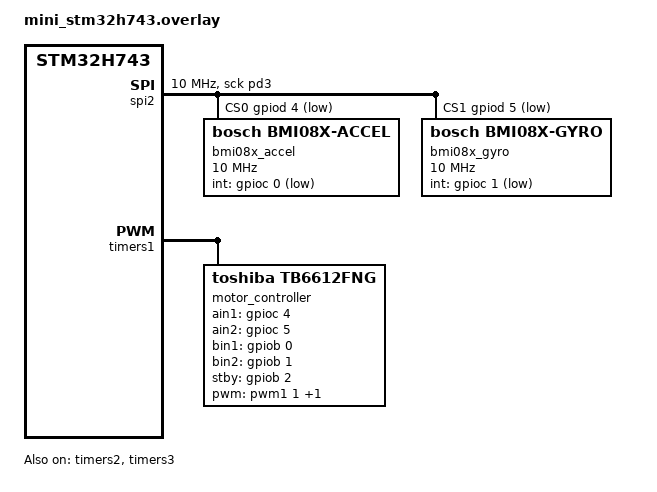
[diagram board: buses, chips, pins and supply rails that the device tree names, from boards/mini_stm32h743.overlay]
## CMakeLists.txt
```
cmake_minimum_required(VERSION 3.20.0)

list(APPEND ZEPHYR_EXTRA_MODULES ${CMAKE_CURRENT_SOURCE_DIR}/modules/libmicroxrcedds)

list(APPEND DTS_ROOT ${CMAKE_CURRENT_SOURCE_DIR}/drivers/zephyr)

list(APPEND ZEPHYR_EXTRA_MODULES
  ${CMAKE_CURRENT_SOURCE_DIR}/drivers
)

find_package(Zephyr REQUIRED HINTS $ENV{ZEPHYR_BASE})
project(MiracZ7)

zephyr_include_directories(${CMAKE_CURRENT_SOURCE_DIR}/include)

if(CONFIG_MICROXRCEDDSCLIENT)
  target_link_libraries(app PRIVATE microxrceddsclient)
endif()

target_sources(app PRIVATE src/main.c src/HelloWorld.c)
```

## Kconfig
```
mainmenu "Miracz7 Application"

source "Kconfig.zephyr"
```

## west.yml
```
manifest:
  remotes:
    - name: zephyrproject-rtos
      url-base: https://github.com/zephyrproject-rtos
    
    - name: eprosima
      url-base: https://github.com/eProsima

    - name: xrce-dds-custom
      url-base: https://github.com/discodyer

  projects:
    - name: zephyr
      remote: zephyrproject-rtos
      revision: v4.2.0
      import: true

    - name: Micro-XRCE-DDS-Client
      remote: xrce-dds-custom
      revision: zephyr-v3.0.0
      path: modules/lib/micro-xrce-dds-client
    
    - name: Micro-CDR
      remote: xrce-dds-custom
      revision: zephyr-v2.0.1
      path: modules/lib/micro-cdr

  self:
    path: miracz7
```

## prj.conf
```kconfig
# General configurations
# CONFIG_PRINTK=y
CONFIG_STDOUT_CONSOLE=y
CONFIG_CBPRINTF_FP_SUPPORT=y

CONFIG_LOG=y
CONFIG_LOG_DEFAULT_LEVEL=3
CONFIG_LOG_MODE_DEFERRED=y
CONFIG_LOG_BACKEND_UART=y

CONFIG_GPIO=y

# System Configuration
# CONFIG_MAIN_STACK_SIZE=2048
# CONFIG_HEAP_MEM_POOL_SIZE=16384
CONFIG_MAIN_STACK_SIZE=25000
CONFIG_MAIN_THREAD_PRIORITY=3

CONFIG_NEWLIB_LIBC=y
CONFIG_NEWLIB_LIBC_NANO=n
# CONFIG_PTHREAD_IPC=n

CONFIG_POSIX_API=y
# CONFIG_NATIVE_POSIX_TIMER=y
# CONFIG_APP_LINK_WITH_POSIX_SUBSYS=y
# CONFIG_POSIX_CLOCK=y
# CONFIG_NATIVE_SIM_TIMER=y

CONFIG_STDOUT_CONSOLE=y
# CONFIG_USB=y
CONFIG_USB_DEVICE_STACK=y
CONFIG_USB_DEVICE_PRODUCT="Zephyr XRCE Client"
CONFIG_LOG=y
CONFIG_LOG_MODE_IMMEDIATE=y
CONFIG_USB_CDC_ACM=y
CONFIG_SERIAL=y
CONFIG_UART_INTERRUPT_DRIVEN=y
# CONFIG_USB_DEVICE_INITIALIZE=y
CONFIG_UART_LINE_CTRL=y
CONFIG_USB_DRIVER_LOG_LEVEL_ERR=y
CONFIG_USB_DEVICE_LOG_LEVEL_ERR=y
CONFIG_USB_CDC_ACM_RINGBUF_SIZE=2048
CONFIG_USB_COMPOSITE_DEVICE=y
CONFIG_UART_CONSOLE=y
# CONFIG_CONSOLE_FLUSHING=y

# Debug Configuration
# CONFIG_ASSERT=y
# CONFIG_DEBUG_OPTIMIZATIONS=y

# SPI configurations
CONFIG_SPI=y

# BMI088 configurations
CONFIG_SENSOR=y
CONFIG_BMI08X=y

# Enbale ST7735 Display Driver
# CONFIG_ST7735R=y

# Display configurations
# CONFIG_DISPLAY=y
# CONFIG_LVGL=y
# CONFIG_LV_Z_MEM_POOL_SIZE=16384
# CONFIG_LV_USE_LABEL=y
# CONFIG_LV_COLOR_DEPTH_16=y
# CONFIG_LV_COLOR_16_SWAP=y

CONFIG_MICROXRCEDDSCLIENT=y
CONFIG_MICROXRCEDDSCLIENT_TRANSPORT_SERIAL_USB=y
# Encoder support
CONFIG_QDEC_STM32=n
CONFIG_ENCODER_STM32=y

# TB6612 configurations
CONFIG_MOTOR_DRIVER=y
CONFIG_MOTOR_DRIVER_TB6612=y
```

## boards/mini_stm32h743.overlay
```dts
#include <zephyr/dt-bindings/sensor/qdec_stm32.h>
#include <zephyr/dt-bindings/pinctrl/stm32-pinctrl.h>
#include <zephyr/dt-bindings/pwm/pwm.h>
#include <zephyr/dt-bindings/gpio/gpio.h>

/ {
    aliases {
		spi1 = &spi1;
		spi2 = &spi2;
		encoder1 = &encoder1;
        encoder2 = &encoder2;
    };
};

&spi2 {
	status = "okay";
	pinctrl-0 = <&spi2_sck_pd3
				 &spi2_miso_pc2_c
				 &spi2_mosi_pc3_c>;
	pinctrl-names = "default";
	cs-gpios = <&gpiod 4 GPIO_ACTIVE_LOW>,
               <&gpiod 5 GPIO_ACTIVE_LOW>;
	clock-frequency = <10000000>;
	#address-cells = <1>;
	#size-cells = <0>;
	
	bmi08x_accel: bmi08x@0 {
		compatible = "bosch,bmi08x-accel";
		reg = <0>;
		int-gpios = <&gpioc 0 GPIO_ACTIVE_LOW>;
		spi-max-frequency = <10000000>;
		int1-map-io = <0x01>;
		int2-map-io = <0x00>;
		int1-conf-io = <0x00>;
		int2-conf-io = <0x00>;
		accel-hz = "800";
		accel-fs = <24>;
	};

	bmi08x_gyro: bmi08x@1 {
		compatible = "bosch,bmi08x-gyro";
		reg = <1>;
		int-gpios = <&gpioc 1 GPIO_ACTIVE_LOW>;
		spi-max-frequency = <10000000>;
		int3-4-map-io = <0x01>;
		int3-4-conf-io = <0x00>;
		gyro-hz = "1000_116";
		gyro-fs = <1000>;
	};
};

&zephyr_udc0 {
	cdc_xrce_dds: cdc_xrce_dds {
		compatible = "zephyr,cdc-acm-uart";
		label = "CDC_XRCE_DDS";
	};
};

&timers1 {
    status = "okay";

    pwm1: pwm {
		status = "okay";
		pinctrl-0 = <&tim1_ch1_pe9 &tim1_ch2_pe11>;
		pinctrl-names = "default";
	};

	motor_controller: motor-controller {
        compatible = "toshiba,tb6612fng";
        status = "okay";

        /* PWM配置 */
		pwms = <&pwm1 1 PWM_USEC(20) PWM_POLARITY_NORMAL>, // TIM1_CH1 (PE9)
			   <&pwm1 2 PWM_USEC(20) PWM_POLARITY_NORMAL>; // TIM1_CH2 (PE11)

        /* GPIO配置 */
        ain1-gpios = <&gpioc 4 GPIO_ACTIVE_HIGH>;  // 通道A方向1
        ain2-gpios = <&gpioc 5 GPIO_ACTIVE_HIGH>;  // 通道A方向2
        bin1-gpios = <&gpiob 0 GPIO_ACTIVE_HIGH>;  // 通道B方向1
        bin2-gpios = <&gpiob 1 GPIO_ACTIVE_HIGH>;  // 通道B方向2
        stby-gpios = <&gpiob 2 GPIO_ACTIVE_HIGH>;  // 待机控制

		#pwm-cells = <3>;
    };
};

&timers2 {
    status = "okay";
    encoder1: encoder {
		status = "okay";
		compatible = "st,stm32-encoder";
        pinctrl-0 = <&tim2_ch1_pa15 &tim2_ch2_pb3>;
        pinctrl-names = "default";
        st,encoder-mode = <3>;
        st,input-polarity-inverted;
        st,input-filter-level = <NO_FILTER>;
        st,counts-per-revolution = <15000>;
    };
};

&timers3 {
    status = "okay";
    encoder2: encoder {
		status = "okay";
		compatible = "st,stm32-encoder";
        pinctrl-0 = <&tim3_ch1_pc6 &tim3_ch2_pc7>;
        pinctrl-names = "default";
        st,encoder-mode = <3>;
        st,input-polarity-inverted;
        st,input-filter-level = <NO_FILTER>;
        st,counts-per-revolution = <15000>;
    };
};
```

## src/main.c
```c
#include <zephyr/kernel.h>

#include <uxr/client/client.h>
#include <ucdr/microcdr.h>

#include <stdio.h>
#include <string.h>
#include <stdlib.h>
#include <time.h>

#include <zephyr/device.h>
#include <zephyr/drivers/sensor.h>
#include <zephyr/sys/printk.h>
#include <zephyr/drivers/sensor/encoder_stm32.h>
#include <zephyr/drivers/motor.h>

#include "HelloWorld.h"
#include "microxrce_transports.h"

#define STREAM_HISTORY  8
#define BUFFER_SIZE     UXR_CONFIG_CUSTOM_TRANSPORT_MTU * STREAM_HISTORY

#define MOTOR_DEVICE DT_NODELABEL(motor_controller)

/* 定义电机控制线程栈 */
#define MOTOR_THREAD_STACK_SIZE 1024
K_THREAD_STACK_DEFINE(motor_thread_stack, MOTOR_THREAD_STACK_SIZE);
static struct k_thread motor_thread_data;

/* 电机控制标志位 */
static volatile bool run_motor = true;

/* 电机控制线程函数 */
void motor_thread(void *, void *, void *)
{
    const struct device *motor = DEVICE_DT_GET(DT_NODELABEL(motor_controller));
    
    if (!device_is_ready(motor)) {
        printk("Motor device not ready\n");
        return;
    }

    while (run_motor) {
        // 通道A正向50%速度
        set_motor(motor, MOTOR_CHANNEL_A, MOTOR_FORWARD, 20);
        // 通道B正向50%速度
        set_motor(motor, MOTOR_CHANNEL_B, MOTOR_FORWARD, 20);
        k_sleep(K_SECONDS(2));
        
        // 停止两个电机
        set_motor(motor, MOTOR_CHANNEL_A, MOTOR_STOP, 0);
        set_motor(motor, MOTOR_CHANNEL_B, MOTOR_STOP, 0);
        
        k_sleep(K_SECONDS(2));

        // 通道A反向50%速度
        set_motor(motor, MOTOR_CHANNEL_A, MOTOR_REVERSE, 20);
        // 通道B反向50%速度
        set_motor(motor, MOTOR_CHANNEL_B, MOTOR_REVERSE, 20);
        k_sleep(K_SECONDS(2));
        
        // 停止两个电机
        set_motor(motor, MOTOR_CHANNEL_A, MOTOR_STOP, 0);
        set_motor(motor, MOTOR_CHANNEL_B, MOTOR_STOP, 0);
        
        k_sleep(K_SECONDS(2));
    }
}

int main(void)
{
    /* 启动电机控制线程 */
    k_thread_create(&motor_thread_data,
                   motor_thread_stack,
                   K_THREAD_STACK_SIZEOF(motor_thread_stack),
                   motor_thread,
                   NULL, NULL, NULL,
                   CONFIG_MAIN_THREAD_PRIORITY + 1,  // 比主线程高1级
                   0, K_NO_WAIT);

    const struct device *const encoder1 = DEVICE_DT_GET(DT_ALIAS(encoder1));
    const struct device *const encoder2 = DEVICE_DT_GET(DT_ALIAS(encoder2));

    /* 检查设备是否就绪 */
    if (!device_is_ready(encoder1) || !device_is_ready(encoder2)) {
        printk("Encoders not ready\n");
        return 0;
    }

    uxrCustomTransport transport;
    uxr_set_custom_transport_callbacks(&transport,
                                        true,
                                        zephyr_transport_open,
                                        zephyr_transport_close,
                                        zephyr_transport_write,
                                        zephyr_transport_read);
    // Transport
    if(!uxr_init_custom_transport(&transport, &default_params))
    {
        printf("Error at create transport.\n");
        while(1){};
    }

    // Session
    uxrSession session;
    uxr_init_session(&session, &transport.comm, 0xAAAABBBB);
    if(!uxr_create_session(&session))
    {
        printf("Error at create session.\n");
        while(1){};
    }

    // Streams
    uint8_t output_reliable_stream_buffer[BUFFER_SIZE];
    uxrStreamId reliable_out = uxr_create_output_reliable_stream(&session, output_reliable_stream_buffer, BUFFER_SIZE, STREAM_HISTORY);

    uint8_t input_reliable_stream_buffer[BUFFER_SIZE];
    uxr_create_input_reliable_stream(&session, input_reliable_stream_buffer, BUFFER_SIZE, STREAM_HISTORY);

    // Create entities
    uxrObjectId participant_id = uxr_object_id(0x01, UXR_PARTICIPANT_ID);
    const char* participant_xml = "<dds>"
                                      "<participant>"
                                          "<rtps>"
                                              "<name>default_xrce_participant</name>"
                                          "</rtps>"
                                      "</participant>"
                                  "</dds>";
    uint16_t participant_req = uxr_buffer_create_participant_xml(&session, reliable_out, participant_id, 0, participant_xml, UXR_REPLACE);

    uxrObjectId topic_id = uxr_object_id(0x01, UXR_TOPIC_ID);
    const char* topic_xml = "<dds>"
                                "<topic>"
                                    "<name>HelloWorldTopic</name>"
                                    "<dataType>HelloWorld</dataType>"
                                "</topic>"
                            "</dds>";
    uint16_t topic_req = uxr_buffer_create_topic_xml(&session, reliable_out, topic_id, participant_id, topic_xml, UXR_REPLACE);

    uxrObjectId publisher_id = uxr_object_id(0x01, UXR_PUBLISHER_ID);
    const char* publisher_xml = "";
    uint16_t publisher_req = uxr_buffer_create_publisher_xml(&session, reliable_out, publisher_id, participant_id, publisher_xml, UXR_REPLACE);

    uxrObjectId datawriter_id = uxr_object_id(0x01, UXR_DATAWRITER_ID);
    const char* datawriter_xml = "<dds>"
                                     "<data_writer>"
                                         "<topic>"
                                             "<kind>NO_KEY</kind>"
                                             "<name>HelloWorldTopic</name>"
                                             "<dataType>HelloWorld</dataType>"
                                         "</topic>"
                                     "</data_writer>"
                                 "</dds>";
    uint16_t datawriter_req = uxr_buffer_create_datawriter_xml(&session, reliable_out, datawriter_id, publisher_id, datawriter_xml, UXR_REPLACE);

    // Send create entities message and wait its status
    uint8_t status[4];
    uint16_t requests[4] = {participant_req, topic_req, publisher_req, datawriter_req};
    if(!uxr_run_session_until_all_status(&session, 1000, requests, status, 4))
    {
        printf("Error at create entities: participant: %i topic: %i publisher: %i darawriter: %i\n", status[0], status[1], status[2], status[3]);
        while(1){};
    }

    // Write topics
    bool connected = true;
    uint32_t count = 0;
    while(connected)
    {
        HelloWorld topic = {++count, "Hello DDS world!"};

        ucdrBuffer ub;
        uint32_t topic_size = HelloWorld_size_of_topic(&topic, 0);
        uxr_prepare_output_stream(&session, reliable_out, datawriter_id, &ub, topic_size);
        HelloWorld_serialize_topic(&ub, &topic);

        printf("Send topic: %s, id: %i\n", topic.message, topic.index);
        connected = uxr_run_session_time(&session, 1000);
    }

    // while (1) {
    //     struct sensor_value val1_rotation, val2_rotation;
    //     struct sensor_value val1_revolution, val2_revolution;
        
    //     /* 读取编码器数据 */
    //     if (sensor_sample_fetch(encoder1) != 0 || 
    //         sensor_sample_fetch(encoder2) != 0) {
    //         printk("Failed to fetch encoder samples\n");
    //         continue;
    //     }

    //     sensor_channel_get(encoder1, SENSOR_CHAN_ROTATION, &val1_rotation);
    //     sensor_channel_get(encoder1, SENSOR_CHAN_REVOLUTIONS, &val1_revolution);
    //     sensor_channel_get(encoder2, SENSOR_CHAN_ROTATION, &val2_rotation);
    //     sensor_channel_get(encoder2, SENSOR_CHAN_REVOLUTIONS, &val2_revolution);

    //     /* 计算并打印角度 */
    //     double angle1 = (val1_rotation.val1 + val1_rotation.val2 / 1000000.0) 
    //                   + val1_revolution.val1 * 360;
    //     double angle2 = (val2_rotation.val1 + val2_rotation.val2 / 1000000.0) 
    //                   + val2_revolution.val1 * 360;
        
    //     printf("%.2f, %.2f\n", angle1, angle2);
        
    //     // /* 根据编码器数据调整电机（示例逻辑） */
    //     // if (angle1 > 360.0) {
    //     //     run_motor = false; // 停止电机
    //     // }
        
    //     k_sleep(K_MSEC(100));
    // }

    // Delete resources
    uxr_delete_session(&session);
    uxr_close_custom_transport(&transport);

    while(1){};
}
```

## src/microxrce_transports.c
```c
#include <uxr/client/transport.h>

#include <zephyr/kernel.h>

#include <unistd.h>
#include <stdio.h>
#include <string.h>
#include <stdbool.h>

#include "microxrce_transports.h"

#include <zephyr/device.h>
#include <zephyr/sys/printk.h>
#include <zephyr/drivers/uart.h>
#include <zephyr/sys/ring_buffer.h>
#include <zephyr/usb/usb_device.h>

#define RING_BUF_SIZE 2048

char uart_in_buffer[RING_BUF_SIZE];
char uart_out_buffer[RING_BUF_SIZE];

struct ring_buf out_ringbuf, in_ringbuf;

static void uart_fifo_callback(struct device *dev){ 
    while (uart_irq_update(dev) && uart_irq_is_pending(dev)) {
        if (uart_irq_rx_ready(dev)) {
            int recv_len;
            char buffer[64];
            size_t len = MIN(ring_buf_space_get(&in_ringbuf), sizeof(buffer));

            if (len > 0){
                recv_len = uart_fifo_read(dev, buffer, len);
                ring_buf_put(&in_ringbuf, buffer, recv_len);
            }

        }

        if (uart_irq_tx_ready(dev)) {			
            char buffer[64];
            int rb_len;

            rb_len = ring_buf_get(&out_ringbuf, buffer, sizeof(buffer));

            if (rb_len == 0) {
                uart_irq_tx_disable(dev);
                continue;
            }

            uart_fifo_fill(dev, buffer, rb_len);
        }
    }
}

bool zephyr_transport_open(struct uxrCustomTransport * transport){
    zephyr_transport_params_t * params = (zephyr_transport_params_t*) transport->args;
    
    int ret;
    uint32_t baudrate, dtr = 0U;

    params->uart_dev = device_get_binding("CDC_XRCE_DDS");
    if (!params->uart_dev) {
        printk("CDC ACM device not found\n");
        return false;
    }

    // ret = usb_enable(NULL);
    // if (ret != 0) {
    //     printk("Failed to enable USB\n");
    //     return false;
    // }

    ring_buf_init(&out_ringbuf, sizeof(uart_out_buffer), uart_out_buffer);
    ring_buf_init(&in_ringbuf, sizeof(uart_in_buffer), uart_in_buffer);

    printk("Waiting for agent connection\n");

    while (true) {
        uart_line_ctrl_get(params->uart_dev, UART_LINE_CTRL_DTR, &dtr);
        if (dtr) {
            break;
        } else {
            /* Give CPU resources to low priority threads. */
            k_sleep(K_MSEC(100));
        }
    }

    printk("Serial port connected!\n");

    /* They are optional, we use them to test the interrupt endpoint */
    ret = uart_line_ctrl_set(params->uart_dev, UART_LINE_CTRL_DCD, 1);
    if (ret) {
        printk("Failed to set DCD, ret code %d\n", ret);
    }

    ret = uart_line_ctrl_set(params->uart_dev, UART_LINE_CTRL_DSR, 1);
    if (ret) {
        printk("Failed to set DSR, ret code %d\n", ret);
    }

    /* Wait 1 sec for the host to do all settings */
    k_busy_wait(1000*1000);

    ret = uart_line_ctrl_get(params->uart_dev, UART_LINE_CTRL_BAUD_RATE, &baudrate);
    if (ret) {
        printk("Failed to get baudrate, ret code %d\n", ret);
    }

    uart_irq_callback_set(params->uart_dev, uart_fifo_callback);

    /* Enable rx interrupts */
    uart_irq_rx_enable(params->uart_dev);

    return true;
}

bool zephyr_transport_close(struct uxrCustomTransport * transport){
    zephyr_transport_params_t * params = (zephyr_transport_params_t*) transport->args;

    return true;
}

size_t zephyr_transport_write(struct uxrCustomTransport* transport, const uint8_t * buf, size_t len, uint8_t * err){
    zephyr_transport_params_t * params = (zephyr_transport_params_t*) transport->args;

    size_t wrote;
    
    wrote = ring_buf_put(&out_ringbuf, buf, len);
    
    uart_irq_tx_enable(params->uart_dev);

    while (!ring_buf_is_empty(&out_ringbuf)){
        k_sleep(K_MSEC(5));
    }
    
    return wrote;
}

size_t zephyr_transport_read(struct uxrCustomTransport* transport, uint8_t* buf, size_t len, int timeout, uint8_t* err){
    zephyr_transport_params_t * params = (zephyr_transport_params_t*) transport->args;

    size_t read = 0;
    int spent_time = 0;

    while(ring_buf_is_empty(&in_ringbuf) && spent_time < timeout){
        k_sleep(K_MSEC(1));
        spent_time++;
    }

    uart_irq_rx_disable(params->uart_dev);
    read = ring_buf_get(&in_ringbuf, buf, len);
    uart_irq_rx_enable(params->uart_dev);

    return read;
}
```
